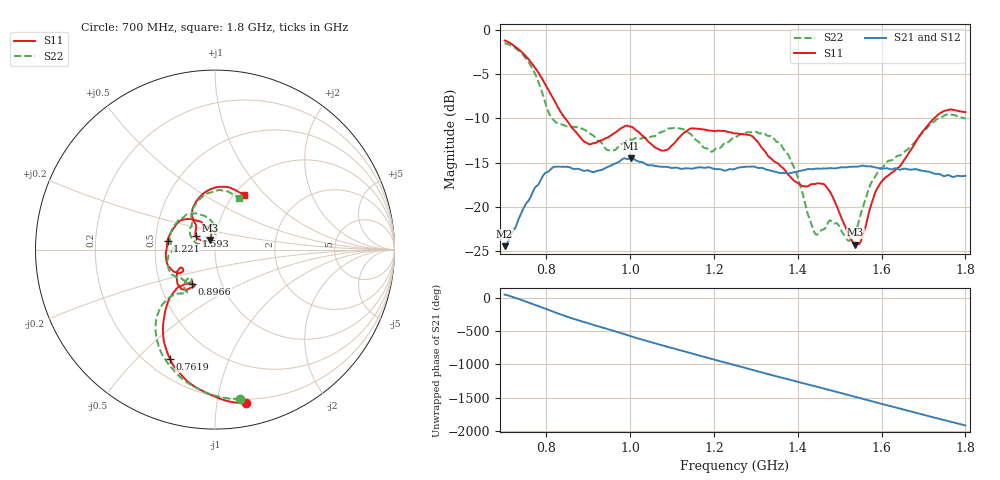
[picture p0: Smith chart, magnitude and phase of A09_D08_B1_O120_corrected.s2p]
! Created with skrf 1.9.0 (http://scikit-rf.org).
# Hz S RI R 50.0
!freq ReS11 ImS11 ReS21 ImS21 ReS12 ImS12 ReS22 ImS22
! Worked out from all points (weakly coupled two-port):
!   1601 points, 700 MHz to 1.8 GHz, reference 50 ohm
!   highest |S21| = -14.50 dB at 1.002 GHz (marker M1); lowest = -24.5 dB at 700 MHz (marker M2)
!   lowest |S11| = -24.3 dB at 1.537 GHz (marker M3), VSWR 1.13, Z = 47 + j5.12 ohm
!   |S11| at or under -10 dB: 844.8 MHz to 1.725 GHz (880.3 MHz wide, 68.5 % of centre)
!   |S22| runs from -23.9 to -1.5 dB; largest |S21 - S12| = 0.0037
!   S11 on the Smith chart (normalised r, x): 700 MHz: 0.17, -1.21; 761.9 MHz: 0.29, -0.63; 896.6 MHz: 0.72, -0.29; 1.221 GHz: 0.58, +0.06; 1.593 GHz: 0.80, +0.12; 1.8 GHz: 1.11, +0.76
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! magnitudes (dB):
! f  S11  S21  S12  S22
! 700 MHz  -1.2  -24.5  -24.2  -1.5
! 761.9 MHz  -3.6  -18.9  -18.8  -4.0
! 814.8 MHz  -7.6  -15.6  -15.6  -10.1
! 883.6 MHz  -12.3  -15.8  -15.7  -11.2
! 896.6 MHz  -12.8  -15.9  -16.0  -11.5
! 947.5 MHz  -12.1  -15.5  -15.5  -13.6
! 1.002 GHz  -10.9  -14.5  -14.6  -12.4
! 1.067 GHz  -13.5  -15.4  -15.4  -11.7
! 1.144 GHz  -11.1  -15.7  -15.7  -11.8
! 1.193 GHz  -11.4  -15.6  -15.6  -13.7
! 1.221 GHz  -11.4  -15.9  -15.9  -13.0
! 1.25 GHz  -11.7  -15.7  -15.6  -12.1
! 1.358 GHz  -15.4  -16.2  -16.1  -12.8
! 1.394 GHz  -17.2  -16.1  -16.0  -15.9
! 1.434 GHz  -17.4  -15.8  -15.7  -22.1
! 1.472 GHz  -18.0  -15.6  -15.7  -21.8
! 1.521 GHz  -23.2  -15.5  -15.5  -23.9
! 1.537 GHz  -24.3  -15.5  -15.5  -22.9
! 1.593 GHz  -17.6  -15.6  -15.6  -15.9
! 1.617 GHz  -16.4  -15.7  -15.7  -14.8
! 1.734 GHz  -9.6  -16.3  -16.3  -10.0
! 1.8 GHz  -9.3  -16.5  -16.5  -10.0
